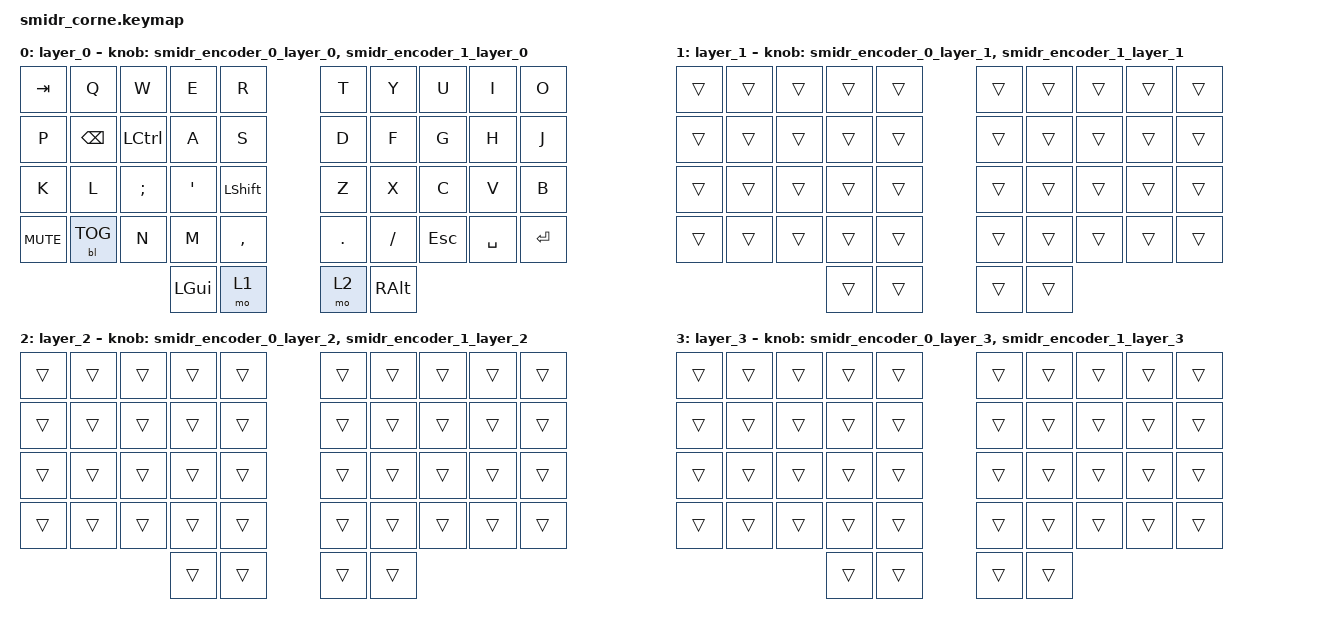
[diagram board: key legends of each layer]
/*
 * Copyright (c) 2026 Smidr
 * SPDX-License-Identifier: MIT
 */

#include <behaviors.dtsi>
#include <dt-bindings/zmk/keys.h>
#include <dt-bindings/zmk/bt.h>
#include <dt-bindings/zmk/outputs.h>
#include <dt-bindings/zmk/rgb.h>
#include <dt-bindings/zmk/backlight.h>
#include <dt-bindings/zmk/mouse.h>

/ {
    behaviors {
        smidr_td_0_1_ht: smidr_td_0_1_ht {
            compatible = "zmk,behavior-hold-tap";
            #binding-cells = <2>;
            flavor = "hold-preferred";
            tapping-term-ms = <200>;
            bindings = <&kp>, <&kp>;
        };

        smidr_td_0_2_ht: smidr_td_0_2_ht {
            compatible = "zmk,behavior-hold-tap";
            #binding-cells = <2>;
            flavor = "hold-preferred";
            tapping-term-ms = <200>;
            bindings = <&kp>, <&kp>;
        };

        smidr_td_0: smidr_td_0 {
            compatible = "zmk,behavior-tap-dance";
            #binding-cells = <0>;
            tapping-term-ms = <200>;
            bindings = <&smidr_td_0_1_ht LSHIFT ESC>, <&smidr_td_0_2_ht LCTRL CLCK>;
        };

        smidr_td_1: smidr_td_1 {
            compatible = "zmk,behavior-tap-dance";
            #binding-cells = <0>;
            tapping-term-ms = <200>;
            bindings = <&kp A>, <&kp B>;
        };

        smidr_td_2: smidr_td_2 {
            compatible = "zmk,behavior-tap-dance";
            #binding-cells = <0>;
            tapping-term-ms = <200>;
            bindings = <&kp A>, <&kp B>;
        };

        smidr_td_3: smidr_td_3 {
            compatible = "zmk,behavior-tap-dance";
            #binding-cells = <0>;
            tapping-term-ms = <200>;
            bindings = <&kp A>, <&kp B>;
        };

        smidr_td_4: smidr_td_4 {
            compatible = "zmk,behavior-tap-dance";
            #binding-cells = <0>;
            tapping-term-ms = <200>;
            bindings = <&kp A>, <&kp B>;
        };

        smidr_td_5: smidr_td_5 {
            compatible = "zmk,behavior-tap-dance";
            #binding-cells = <0>;
            tapping-term-ms = <200>;
            bindings = <&kp A>, <&kp B>;
        };

        smidr_td_6: smidr_td_6 {
            compatible = "zmk,behavior-tap-dance";
            #binding-cells = <0>;
            tapping-term-ms = <200>;
            bindings = <&kp A>, <&kp B>;
        };

        smidr_td_7: smidr_td_7 {
            compatible = "zmk,behavior-tap-dance";
            #binding-cells = <0>;
            tapping-term-ms = <200>;
            bindings = <&kp A>, <&kp B>;
        };
    };




    smidr_encoder_behaviors {
        smidr_encoder_0_layer_0: smidr_encoder_0_layer_0 {
            compatible = "zmk,behavior-sensor-rotate";
            #sensor-binding-cells = <0>;
            bindings = <&kp C_VOL_UP>, <&kp C_VOL_DN>;
        };

        smidr_encoder_1_layer_0: smidr_encoder_1_layer_0 {
            compatible = "zmk,behavior-sensor-rotate";
            #sensor-binding-cells = <0>;
            bindings = <&bl BL_INC>, <&bl BL_DEC>;
        };

        smidr_encoder_0_layer_1: smidr_encoder_0_layer_1 {
            compatible = "zmk,behavior-sensor-rotate";
            #sensor-binding-cells = <0>;
            bindings = <&trans>, <&trans>;
        };

        smidr_encoder_1_layer_1: smidr_encoder_1_layer_1 {
            compatible = "zmk,behavior-sensor-rotate";
            #sensor-binding-cells = <0>;
            bindings = <&trans>, <&trans>;
        };

        smidr_encoder_0_layer_2: smidr_encoder_0_layer_2 {
            compatible = "zmk,behavior-sensor-rotate";
            #sensor-binding-cells = <0>;
            bindings = <&trans>, <&trans>;
        };

        smidr_encoder_1_layer_2: smidr_encoder_1_layer_2 {
            compatible = "zmk,behavior-sensor-rotate";
            #sensor-binding-cells = <0>;
            bindings = <&trans>, <&trans>;
        };

        smidr_encoder_0_layer_3: smidr_encoder_0_layer_3 {
            compatible = "zmk,behavior-sensor-rotate";
            #sensor-binding-cells = <0>;
            bindings = <&trans>, <&trans>;
        };

        smidr_encoder_1_layer_3: smidr_encoder_1_layer_3 {
            compatible = "zmk,behavior-sensor-rotate";
            #sensor-binding-cells = <0>;
            bindings = <&trans>, <&trans>;
        };
    };


    keymap {
        compatible = "zmk,keymap";

        layer_0 {
            bindings = <
                &kp TAB &kp Q &kp W &kp E &kp R &kp T &kp Y &kp U &kp I &kp O
                &kp P &kp BSPC &kp LCTRL &kp A &kp S &kp D &kp F &kp G &kp H &kp J
                &kp K &kp L &kp SEMI &kp SQT &kp LSHIFT &kp Z &kp X &kp C &kp V &kp B
                &kp C_MUTE &bl BL_TOG &kp N &kp M &kp COMMA &kp DOT &kp FSLH &kp ESC &kp SPACE &kp RET
                &kp LGUI &mo 1 &mo 2 &kp RALT
            >;
            sensor-bindings = <
                &smidr_encoder_0_layer_0 &smidr_encoder_1_layer_0
            >;
        };

        layer_1 {
            bindings = <
                &trans &trans &trans &trans &trans &trans &trans &trans &trans &trans
                &trans &trans &trans &trans &trans &trans &trans &trans &trans &trans
                &trans &trans &trans &trans &trans &trans &trans &trans &trans &trans
                &trans &trans &trans &trans &trans &trans &trans &trans &trans &trans
                &trans &trans &trans &trans
            >;
            sensor-bindings = <
                &smidr_encoder_0_layer_1 &smidr_encoder_1_layer_1
            >;
        };

        layer_2 {
            bindings = <
                &trans &trans &trans &trans &trans &trans &trans &trans &trans &trans
                &trans &trans &trans &trans &trans &trans &trans &trans &trans &trans
                &trans &trans &trans &trans &trans &trans &trans &trans &trans &trans
                &trans &trans &trans &trans &trans &trans &trans &trans &trans &trans
                &trans &trans &trans &trans
            >;
            sensor-bindings = <
                &smidr_encoder_0_layer_2 &smidr_encoder_1_layer_2
            >;
        };

        layer_3 {
            bindings = <
                &trans &trans &trans &trans &trans &trans &trans &trans &trans &trans
                &trans &trans &trans &trans &trans &trans &trans &trans &trans &trans
                &trans &trans &trans &trans &trans &trans &trans &trans &trans &trans
                &trans &trans &trans &trans &trans &trans &trans &trans &trans &trans
                &trans &trans &trans &trans
            >;
            sensor-bindings = <
                &smidr_encoder_0_layer_3 &smidr_encoder_1_layer_3
            >;
        };
    };
};
